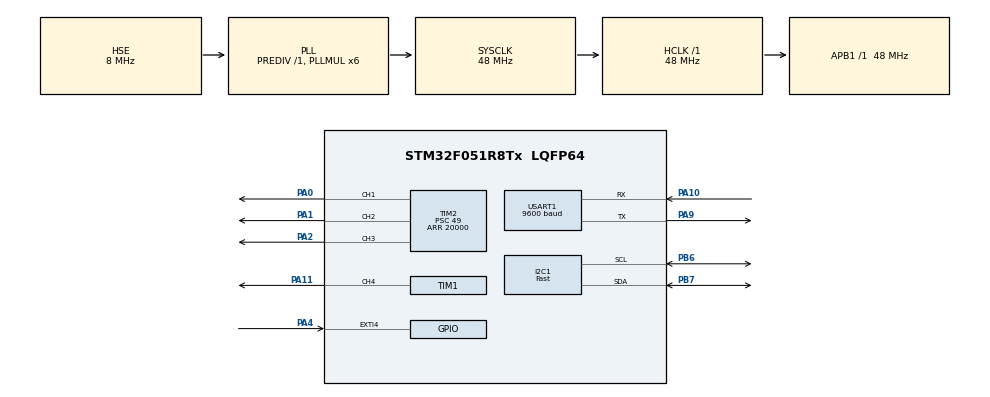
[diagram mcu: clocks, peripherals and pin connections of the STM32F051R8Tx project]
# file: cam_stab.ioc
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I2C1.I2C_Speed_Mode=I2C_Fast
I2C1.Timing=0x0000020B
Mcu.Family=STM32F0
Mcu.Name=STM32F051R8Tx
Mcu.Package=LQFP64
NVIC.EXTI4_15_IRQn=true\:0\:0\:false\:false\:true\:true\:true\:true
NVIC.USART1_IRQn=true\:0\:0\:false\:false\:true\:true\:true\:true
PA0.Signal=S_TIM2_CH1_ETR
PA1.Signal=S_TIM2_CH2
PA10.Mode=Asynchronous
PA10.Signal=USART1_RX
PA11.Signal=S_TIM1_CH4
PA2.Signal=S_TIM2_CH3
PA4.GPIO_ModeDefaultEXTI=GPIO_MODE_IT_RISING_FALLING
PA4.GPIO_PuPd=GPIO_PULLUP
PA4.Signal=GPXTI4
PA9.Mode=Asynchronous
PA9.Signal=USART1_TX
PB6.Mode=I2C
PB6.Signal=I2C1_SCL
PB7.Mode=I2C
PB7.Signal=I2C1_SDA
PF0-OSC_IN.Mode=HSE-External-Oscillator
PF0-OSC_IN.Signal=RCC_OSC_IN
PF1-OSC_OUT.Mode=HSE-External-Oscillator
PF1-OSC_OUT.Signal=RCC_OSC_OUT
ProjectManager.HeapSize=0x200
ProjectManager.StackSize=0x400
ProjectManager.TargetToolchain=Makefile
RCC.AHBFreq_Value=48000000
RCC.APB1Freq_Value=48000000
RCC.APB1TimFreq_Value=48000000
RCC.HCLKFreq_Value=48000000
RCC.PLLMUL=RCC_PLL_MUL6
RCC.PLLSourceVirtual=RCC_PLLSOURCE_HSE
RCC.SYSCLKFreq_VALUE=48000000
RCC.SYSCLKSource=RCC_SYSCLKSOURCE_PLLCLK
SH.S_TIM1_CH4.0=TIM1_CH4,PWM Generation4 CH4
SH.S_TIM2_CH1_ETR.0=TIM2_CH1,PWM Generation1 CH1
SH.S_TIM2_CH2.0=TIM2_CH2,PWM Generation2 CH2
SH.S_TIM2_CH3.0=TIM2_CH3,PWM Generation3 CH3
TIM1.Channel-PWM\ Generation4\ CH4=TIM_CHANNEL_4
TIM1.Period=1000
TIM1.Prescaler=48
TIM1.TIM_MasterOutputTrigger=TIM_TRGO_RESET
TIM2.Channel-PWM\ Generation1\ CH1=TIM_CHANNEL_1
TIM2.Channel-PWM\ Generation2\ CH2=TIM_CHANNEL_2
TIM2.Channel-PWM\ Generation3\ CH3=TIM_CHANNEL_3
TIM2.Period=20000
TIM2.Prescaler=49
TIM2.TIM_MasterOutputTrigger=TIM_TRGO_RESET
USART1.BaudRate=9600
USART1.VirtualMode-Asynchronous=VM_ASYNC
board=custom

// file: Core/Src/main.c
/* USER CODE BEGIN Header */
/**
  ******************************************************************************
  * @file           : main.c
  * @brief          : Main program body
  ******************************************************************************
  * @attention
  *
  * Copyright (c) 2022 STMicroelectronics.
  * All rights reserved.
  *
  * This software is licensed under terms that can be found in the LICENSE file
  * in the root directory of this software component.
  * If no LICENSE file comes with this software, it is provided AS-IS.
  *
  ******************************************************************************
  */
/* USER CODE END Header */
#include "main.h"

/* USER CODE BEGIN Includes */
#include "servo.h"
#include "squeaker.h"
#include "stdlib.h"
#include "quaternion_lib.h"
#include "giro_driver.h"

#include "stm32f0xx_ll_rcc.h"
#include "stm32f0xx_ll_system.h"
#include "stm32f0xx_ll_bus.h"
#include "stm32f0xx_ll_gpio.h"
#include "stm32f0xx_ll_exti.h"
#include "stm32f0xx_ll_utils.h"
#include "stm32f0xx_ll_cortex.h"

#include "oled_driver.h"
#include "xprintf.h"

/* USER CODE END Includes */

 I2C_HandleTypeDef hi2c1;

TIM_HandleTypeDef htim1;
TIM_HandleTypeDef htim2;

UART_HandleTypeDef huart1;

void SystemClock_Config(void);
static void MX_GPIO_Init(void);
static void MX_I2C1_Init(void);
static void MX_TIM1_Init(void);
static void MX_TIM2_Init(void);
static void MX_USART1_UART_Init(void);

/* USER CODE BEGIN 0 */
int8_t button_status = 0;

const uint64_t sis_tik_frik = 1000;

uint64_t button_delay_counter = 0;

uint16_t number = 0;

#define BUTTON_DELAY 1

#define BUTTON_PUSH 1

#define BUTTON_PUSHED 1 << 1

/* USER CODE END 0 */

int main(void)
{

  /* MCU Configuration--------------------------------------------------------*/

  /* Reset of all peripherals, Initializes the Flash interface and the Systick. */
  HAL_Init();

  /* Configure the system clock */
  SystemClock_Config();

  /* Initialize all configured peripherals */
  MX_GPIO_Init();
  MX_I2C1_Init();
  MX_TIM1_Init();
  MX_TIM2_Init();
  MX_USART1_UART_Init();
  /* USER CODE BEGIN 2 */

  //LL_GPIO_TogglePin(GPIOC, LL_GPIO_PIN_9);
  /*
  uint16_t pin_mask = LL_GPIO_ReadOutputPort(GPIOC);
	pin_mask = pin_mask & (~LL_GPIO_PIN_9);
	pin_mask = pin_mask | LL_GPIO_PIN_9;
  LL_GPIO_WriteOutputPort(GPIOC, pin_mask);
  */
  giro_config(&hi2c1);
		/*
    uint16_t pin_mask = LL_GPIO_ReadOutputPort(GPIOC);
		pin_mask = pin_mask & (~LL_GPIO_PIN_9);
		pin_mask = pin_mask | LL_GPIO_PIN_9;
    LL_GPIO_WriteOutputPort(GPIOC, pin_mask);
    */
  //LL_GPIO_TogglePin(GPIOC, LL_GPIO_PIN_9);

  htim1.Instance->CCR4 = 0;
  htim2.Instance->CCR1 = 10;
  htim2.Instance->CCR2 = 10;
  htim2.Instance->CCR3 = 10;

  HAL_TIM_PWM_Start (&htim1, TIM_CHANNEL_4);
  HAL_TIM_PWM_Start (&htim2, TIM_CHANNEL_1);
  HAL_TIM_PWM_Start (&htim2, TIM_CHANNEL_2);
  HAL_TIM_PWM_Start (&htim2, TIM_CHANNEL_3);

  //oled_config();
  /* USER CODE END 2 */

  /* Infinite loop */
  /* USER CODE BEGIN WHILE */

  //500
  //1300

  while (1)
  {
    /* USER CODE END WHILE */

  }
}

void SystemClock_Config(void)
{
  RCC_OscInitTypeDef RCC_OscInitStruct = {0};
  RCC_ClkInitTypeDef RCC_ClkInitStruct = {0};
  RCC_PeriphCLKInitTypeDef PeriphClkInit = {0};

  /** Initializes the RCC Oscillators according to the specified parameters
  * in the RCC_OscInitTypeDef structure.
  */
  RCC_OscInitStruct.OscillatorType = RCC_OSCILLATORTYPE_HSI|RCC_OSCILLATORTYPE_HSE;
  RCC_OscInitStruct.HSEState = RCC_HSE_ON;
  RCC_OscInitStruct.HSIState = RCC_HSI_ON;
  RCC_OscInitStruct.HSICalibrationValue = RCC_HSICALIBRATION_DEFAULT;
  RCC_OscInitStruct.PLL.PLLState = RCC_PLL_ON;
  RCC_OscInitStruct.PLL.PLLSource = RCC_PLLSOURCE_HSE;
  RCC_OscInitStruct.PLL.PLLMUL = RCC_PLL_MUL6;
  RCC_OscInitStruct.PLL.PREDIV = RCC_PREDIV_DIV1;
  if (HAL_RCC_OscConfig(&RCC_OscInitStruct) != HAL_OK)
  {
    Error_Handler();
  }

  /** Initializes the CPU, AHB and APB buses clocks
  */
  RCC_ClkInitStruct.ClockType = RCC_CLOCKTYPE_HCLK|RCC_CLOCKTYPE_SYSCLK
                              |RCC_CLOCKTYPE_PCLK1;
  RCC_ClkInitStruct.SYSCLKSource = RCC_SYSCLKSOURCE_PLLCLK;
  RCC_ClkInitStruct.AHBCLKDivider = RCC_SYSCLK_DIV1;
  RCC_ClkInitStruct.APB1CLKDivider = RCC_HCLK_DIV1;

  if (HAL_RCC_ClockConfig(&RCC_ClkInitStruct, FLASH_LATENCY_1) != HAL_OK)
  {
    Error_Handler();
  }
  PeriphClkInit.PeriphClockSelection = RCC_PERIPHCLK_USART1|RCC_PERIPHCLK_I2C1;
  PeriphClkInit.Usart1ClockSelection = RCC_USART1CLKSOURCE_PCLK1;
  PeriphClkInit.I2c1ClockSelection = RCC_I2C1CLKSOURCE_HSI;
  if (HAL_RCCEx_PeriphCLKConfig(&PeriphClkInit) != HAL_OK)
  {
    Error_Handler();
  }

  HAL_SYSTICK_Config(HAL_RCC_GetHCLKFreq()/1000);
  HAL_SYSTICK_CLKSourceConfig(SYSTICK_CLKSOURCE_HCLK);
  HAL_NVIC_SetPriority(SysTick_IRQn, 0, 0);

}

static void MX_I2C1_Init(void)
{

  hi2c1.Instance = I2C1;
  hi2c1.Init.Timing = 0x0000020B;
  hi2c1.Init.OwnAddress1 = 0;
  hi2c1.Init.AddressingMode = I2C_ADDRESSINGMODE_7BIT;
  hi2c1.Init.DualAddressMode = I2C_DUALADDRESS_DISABLE;
  hi2c1.Init.OwnAddress2 = 0;
  hi2c1.Init.OwnAddress2Masks = I2C_OA2_NOMASK;
  hi2c1.Init.GeneralCallMode = I2C_GENERALCALL_DISABLE;
  hi2c1.Init.NoStretchMode = I2C_NOSTRETCH_DISABLE;
  if (HAL_I2C_Init(&hi2c1) != HAL_OK)
  {
    Error_Handler();
  }

  /** Configure Analogue filter
  */
  if (HAL_I2CEx_ConfigAnalogFilter(&hi2c1, I2C_ANALOGFILTER_ENABLE) != HAL_OK)
  {
    Error_Handler();
  }

  /** Configure Digital filter
  */
  if (HAL_I2CEx_ConfigDigitalFilter(&hi2c1, 0) != HAL_OK)
  {
    Error_Handler();
  }

}

static void MX_TIM1_Init(void)
{

  TIM_MasterConfigTypeDef sMasterConfig = {0};
  TIM_OC_InitTypeDef sConfigOC = {0};
  TIM_BreakDeadTimeConfigTypeDef sBreakDeadTimeConfig = {0};

  htim1.Instance = TIM1;
  htim1.Init.Prescaler = 48;
  htim1.Init.CounterMode = TIM_COUNTERMODE_UP;
  htim1.Init.Period = 1000;
  htim1.Init.ClockDivision = TIM_CLOCKDIVISION_DIV1;
  htim1.Init.RepetitionCounter = 0;
  htim1.Init.AutoReloadPreload = TIM_AUTORELOAD_PRELOAD_DISABLE;
  if (HAL_TIM_PWM_Init(&htim1) != HAL_OK)
  {
    Error_Handler();
  }
  sMasterConfig.MasterOutputTrigger = TIM_TRGO_RESET;
  sMasterConfig.MasterSlaveMode = TIM_MASTERSLAVEMODE_DISABLE;
  if (HAL_TIMEx_MasterConfigSynchronization(&htim1, &sMasterConfig) != HAL_OK)
  {
    Error_Handler();
  }
  sConfigOC.OCMode = TIM_OCMODE_PWM1;
  sConfigOC.Pulse = 0;
  sConfigOC.OCPolarity = TIM_OCPOLARITY_HIGH;
  sConfigOC.OCFastMode = TIM_OCFAST_DISABLE;
  sConfigOC.OCIdleState = TIM_OCIDLESTATE_RESET;
  sConfigOC.OCNIdleState = TIM_OCNIDLESTATE_RESET;
  if (HAL_TIM_PWM_ConfigChannel(&htim1, &sConfigOC, TIM_CHANNEL_4) != HAL_OK)
  {
    Error_Handler();
  }
  sBreakDeadTimeConfig.OffStateRunMode = TIM_OSSR_DISABLE;
  sBreakDeadTimeConfig.OffStateIDLEMode = TIM_OSSI_DISABLE;
  sBreakDeadTimeConfig.LockLevel = TIM_LOCKLEVEL_OFF;
  sBreakDeadTimeConfig.DeadTime = 0;
  sBreakDeadTimeConfig.BreakState = TIM_BREAK_DISABLE;
  sBreakDeadTimeConfig.BreakPolarity = TIM_BREAKPOLARITY_HIGH;
  sBreakDeadTimeConfig.AutomaticOutput = TIM_AUTOMATICOUTPUT_DISABLE;
  if (HAL_TIMEx_ConfigBreakDeadTime(&htim1, &sBreakDeadTimeConfig) != HAL_OK)
  {
    Error_Handler();
  }
  HAL_TIM_MspPostInit(&htim1);

}

static void MX_TIM2_Init(void)
{

  TIM_MasterConfigTypeDef sMasterConfig = {0};
  TIM_OC_InitTypeDef sConfigOC = {0};

  htim2.Instance = TIM2;
  htim2.Init.Prescaler = 49;
  htim2.Init.CounterMode = TIM_COUNTERMODE_UP;
  htim2.Init.Period = 20000;
  htim2.Init.ClockDivision = TIM_CLOCKDIVISION_DIV1;
  htim2.Init.AutoReloadPreload = TIM_AUTORELOAD_PRELOAD_DISABLE;
  if (HAL_TIM_PWM_Init(&htim2) != HAL_OK)
  {
    Error_Handler();
  }
  sMasterConfig.MasterOutputTrigger = TIM_TRGO_RESET;
  sMasterConfig.MasterSlaveMode = TIM_MASTERSLAVEMODE_DISABLE;
  if (HAL_TIMEx_MasterConfigSynchronization(&htim2, &sMasterConfig) != HAL_OK)
  {
    Error_Handler();
  }
  sConfigOC.OCMode = TIM_OCMODE_PWM1;
  sConfigOC.Pulse = 0;
  sConfigOC.OCPolarity = TIM_OCPOLARITY_HIGH;
  sConfigOC.OCFastMode = TIM_OCFAST_DISABLE;
  if (HAL_TIM_PWM_ConfigChannel(&htim2, &sConfigOC, TIM_CHANNEL_1) != HAL_OK)
  {
    Error_Handler();
  }
  if (HAL_TIM_PWM_ConfigChannel(&htim2, &sConfigOC, TIM_CHANNEL_2) != HAL_OK)
  {
    Error_Handler();
  }
  if (HAL_TIM_PWM_ConfigChannel(&htim2, &sConfigOC, TIM_CHANNEL_3) != HAL_OK)
  {
    Error_Handler();
  }
  HAL_TIM_MspPostInit(&htim2);

}

static void MX_USART1_UART_Init(void)
{

  huart1.Instance = USART1;
  huart1.Init.BaudRate = 9600;
  huart1.Init.WordLength = UART_WORDLENGTH_8B;
  huart1.Init.StopBits = UART_STOPBITS_1;
  huart1.Init.Parity = UART_PARITY_NONE;
  huart1.Init.Mode = UART_MODE_TX_RX;
  huart1.Init.HwFlowCtl = UART_HWCONTROL_NONE;
  huart1.Init.OverSampling = UART_OVERSAMPLING_16;
  huart1.Init.OneBitSampling = UART_ONE_BIT_SAMPLE_DISABLE;
  huart1.AdvancedInit.AdvFeatureInit = UART_ADVFEATURE_NO_INIT;
  if (HAL_UART_Init(&huart1) != HAL_OK)
  {
    Error_Handler();
  }

}

static void MX_GPIO_Init(void)
{
  GPIO_InitTypeDef GPIO_InitStruct = {0};

  /* GPIO Ports Clock Enable */
  __HAL_RCC_GPIOF_CLK_ENABLE();
  __HAL_RCC_GPIOA_CLK_ENABLE();
  __HAL_RCC_GPIOB_CLK_ENABLE();

  /*Configure GPIO pin : PA4 */
  GPIO_InitStruct.Pin = GPIO_PIN_4;
  GPIO_InitStruct.Mode = GPIO_MODE_IT_RISING_FALLING;
  GPIO_InitStruct.Pull = GPIO_PULLUP;
  HAL_GPIO_Init(GPIOA, &GPIO_InitStruct);

  /* EXTI interrupt init*/
  HAL_NVIC_SetPriority(EXTI4_15_IRQn, 0, 0);
  HAL_NVIC_EnableIRQ(EXTI4_15_IRQn);

}

void Error_Handler(void)
{
  __disable_irq();
  while (1)
  {
  }
}
